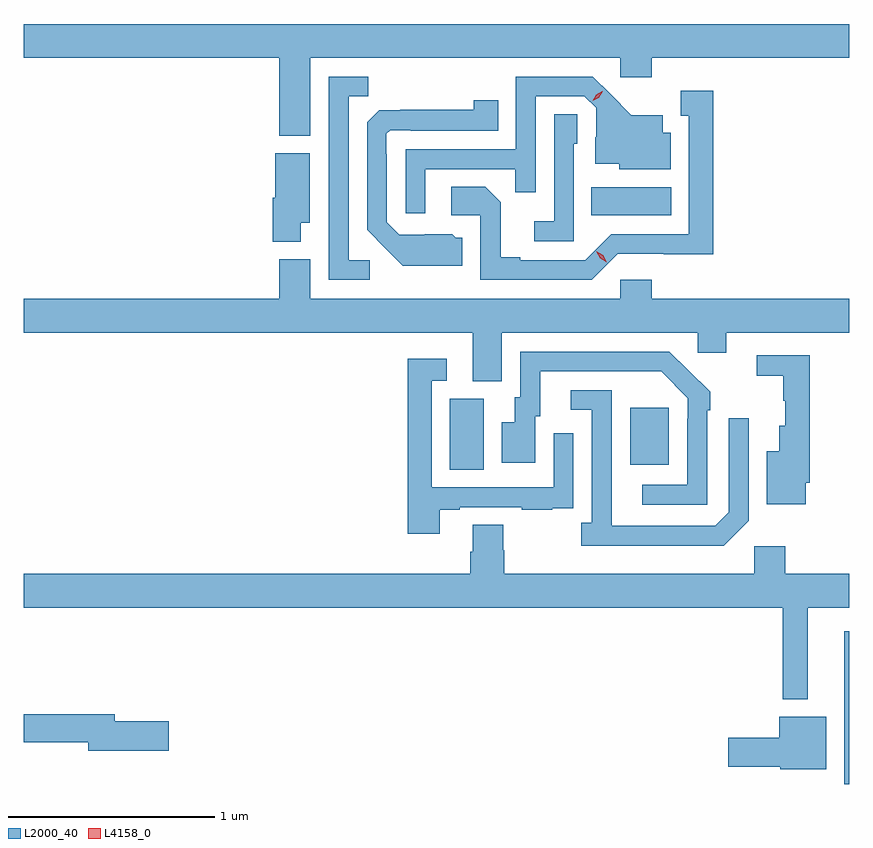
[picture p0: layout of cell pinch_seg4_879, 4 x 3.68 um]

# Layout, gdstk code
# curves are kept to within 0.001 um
import gdstk
lib = gdstk.Library(unit=1e-6, precision=1e-09)
def R(c, l, rs):  # rectangles x0, y0, x1, y1
    for r in rs: c.add(gdstk.rectangle(r[:2], r[2:], *l))
def P(c, l, *ps):  # polygons
    for p in ps: c.add(gdstk.Polygon(p, *l))
L2000_40 = (2000, 40)
L4158_0 = (4158, 0)

pinch_seg4_879 = lib.new_cell('pinch_seg4_879')
R(pinch_seg4_879, L2000_40, [(721.121,819.941,721.145,820.681), (719.21,821.464,719.374,821.808), (720.083,821.489,720.271,821.764), (719.896,822.698,720.283,822.832)])
P(pinch_seg4_879, L2000_40, [(718.534,823.46),(720.036,823.46),(720.036,823.365),(720.188,823.365),(720.188,823.46),(721.145,823.46),(721.145,823.624),(717.145,823.624),(717.145,823.46),(718.382,823.46),(718.382,823.082),(718.534,823.082)],
  [(719.091,822.921),(719.527,822.921),(719.527,822.808),(719.625,822.808),(719.625,823.275),(719.862,823.275),(719.919,823.218),(719.919,823.076),(719.915,823.076),(719.915,822.947),(720.03,822.947),(720.03,822.92),(720.28,822.92),(720.28,823.096),(720.241,823.096),(720.241,823.183),(720.089,823.183),(719.902,823.368),(719.529,823.368),(719.529,823.017),(718.995,823.017),(718.995,822.708),(719.091,822.708)],
  [(718.822,822.48),(718.719,822.48),(718.719,823.273),(718.815,823.273),(718.815,823.368),(718.623,823.368),(718.623,822.384),(718.822,822.384)],
  [(720.024,822.51),(720.487,822.509),(720.487,823.3),(720.329,823.3),(720.329,823.179),(720.368,823.179),(720.368,822.606),(719.991,822.606),(719.865,822.48),(719.551,822.48),(719.551,822.493),(719.457,822.493),(719.457,822.76),(719.381,822.836),(719.217,822.836),(719.217,822.696),(719.358,822.696),(719.358,822.384),(719.898,822.384)],
  [(719.269,822.588),(719.238,822.588),(719.222,822.604),(718.965,822.603),(718.905,822.663),(718.905,822.992),(718.902,822.992),(718.902,823.092),(718.92,823.11),(719.02,823.11),(719.02,823.107),(719.444,823.107),(719.444,823.255),(719.326,823.255),(719.326,823.208),(718.868,823.207),(718.809,823.148),(718.809,822.626),(718.981,822.452),(719.269,822.452)],
  [(719.811,823.044),(719.826,823.044),(719.826,823.187),(719.715,823.187),(719.715,822.667),(719.619,822.667),(719.619,822.57),(719.811,822.57)],
  [(718.486,822.662),(718.531,822.662),(718.531,822.997),(718.364,822.997),(718.364,822.783),(718.352,822.783),(718.352,822.569),(718.486,822.569)],
  [(720.411,822.03),(720.55,822.03),(720.55,822.128),(721.145,822.128),(721.145,822.292),(720.188,822.292),(720.188,822.385),(720.036,822.385),(720.036,822.292),(718.534,822.292),(718.534,822.484),(718.382,822.484),(718.382,822.292),(717.145,822.292),(717.145,822.128),(719.321,822.128),(719.321,821.893),(719.461,821.893),(719.461,822.128),(720.411,822.128)],
  [(720.456,821.753),(720.471,821.753),(720.471,821.841),(720.274,822.036),(719.55,822.036),(719.55,821.814),(719.525,821.814),(719.525,821.695),(719.462,821.695),(719.462,821.499),(719.623,821.499),(719.623,821.724),(719.647,821.724),(719.647,821.94),(720.235,821.94),(720.363,821.811),(720.363,821.711),(720.36,821.711),(720.36,821.391),(720.141,821.391),(720.141,821.295),(720.456,821.295)],
  [(720.934,821.401),(720.953,821.401),(720.953,822.018),(720.696,822.018),(720.696,821.92),(720.825,821.92),(720.825,821.799),(720.836,821.799),(720.836,821.677),(720.806,821.677),(720.806,821.554),(720.746,821.554),(720.746,821.297),(720.934,821.297)],
  [(719.161,821.271),(719.257,821.271),(719.257,821.283),(719.557,821.283),(719.557,821.271),(719.705,821.271),(719.705,821.277),(719.807,821.277),(719.807,821.386),(719.808,821.386),(719.808,821.641),(719.712,821.641),(719.712,821.379),(719.121,821.379),(719.121,821.895),(719.194,821.895),(719.194,822.001),(719.005,822.001),(719.005,821.154),(719.161,821.154)],
  [(720.657,821.217),(720.657,821.713),(720.561,821.713),(720.561,821.259),(720.495,821.193),(719.995,821.193),(719.994,821.85),(719.796,821.85),(719.796,821.754),(719.898,821.754),(719.898,821.206),(719.847,821.206),(719.847,821.096),(720.536,821.096)],
  [(720.943,820.796),(721.145,820.796),(721.145,820.96),(720.836,820.96),(720.836,821.092),(720.684,821.092),(720.684,820.96),(719.474,820.96),(719.474,821.073),(719.469,821.073),(719.469,821.198),(719.321,821.198),(719.321,821.066),(719.309,821.066),(719.309,820.96),(717.145,820.96),(717.145,820.796),(720.822,820.796),(720.822,820.352),(720.943,820.352)],
  [(717.847,820.244),(717.586,820.244),(717.586,820.28),(717.145,820.28),(717.145,820.144),(717.458,820.144),(717.458,820.102),(717.847,820.102)],
  [(721.033,820.267),(720.806,820.267),(720.806,820.166),(720.558,820.166),(720.558,820.024),(720.81,820.024),(720.81,820.013),(721.033,820.013)])
P(pinch_seg4_879, L4158_0, [(719.97,822.47),(719.938,822.489),(719.92,822.522),(719.92,822.522),(719.92,822.522),(719.952,822.503),(719.97,822.47),(719.97,822.47)],
  [(719.901,823.253),(719.901,823.253),(719.918,823.282),(719.949,823.297),(719.95,823.297),(719.95,823.297),(719.932,823.267),(719.901,823.253)])

lib.write_gds('pinch_seg4_879.gds')
